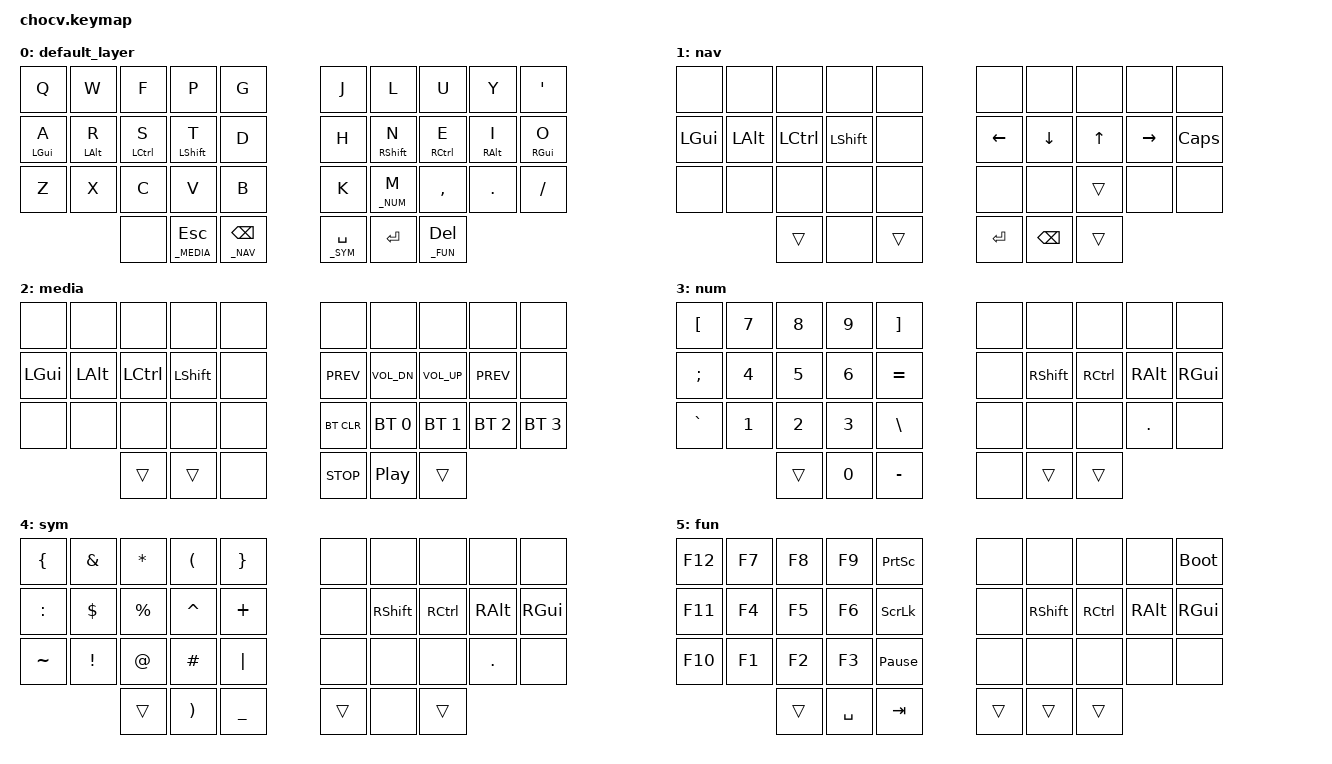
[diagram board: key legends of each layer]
/*
 * Copyright (c) 2020 The ZMK Contributors
 *
 * SPDX-License-Identifier: MIT
 */

#include <behaviors.dtsi>
#include <dt-bindings/zmk/keys.h>
#include <dt-bindings/zmk/bt.h>

#define             _BASE    0
#define             _NAV     1
#define             _MEDIA   2
#define             _NUM     3
#define             _SYM     4
#define             _FUN     5

#define VOL_U       &kp C_VOL_UP
#define VOL_D       &kp C_VOL_DN

#define BT0         &bt BT_SEL 0
#define BT1         &bt BT_SEL 1
#define BT2         &bt BT_SEL 2
#define BT3         &bt BT_SEL 3

#define SPC_SYM     &lt _SYM   SPC
#define ESC_MED     &lt _MEDIA ESC
#define BSPC_NAV    &lt _NAV   BSPC
#define M_NUM       &lt _NUM   M
#define DEL_FUN     &lt _FUN   DEL

#define A_GUI       &hm LGUI  A
#define R_ALT       &hm LALT  R
#define S_CTRL      &hm LCTRL S
#define T_SHFT      &hm LSHFT T

#define N_SHFT      &hm RSHFT N
#define E_CTRL      &hm RCTRL E
#define I_ALT       &hm RALT  I
#define O_GUI       &hm RGUI  O

&kscan0 {
    debounce-period  = <12>;
};

&mt {
    tapping-term-ms = <185>;
    quick-tap-ms = <185>;
};

&lt {
    flavor = "balanced";
    tapping-term-ms = <185>;
    quick-tap-ms = <185>;
};

&caps_word {
    continue-list = <UNDERSCORE MINUS BACKSPACE>;
};

/ { 

        combos {
            compatible = "zmk,combos";

            combo_esc {
                timeout-ms = <50>;
                key-positions = <11 12>;
                bindings = <&kp ESC>;
                layers = <0 1 2 3 4 5>;
            };

            combo_tab {
                timeout-ms = <20>;
                key-positions = <12 13>;
                bindings = <&kp TAB>;
                layers = <0 1 2 3 4 5>;
            };

            combo_ret {
                timeout-ms = <20>;
                key-positions = <17 18>;
                bindings = <&kp RET>;
                layers = <0 1 2 3 4 5>;
            };
            
            combo_caps_word {
                timeout-ms = <20>;
                key-positions = <22 23>;
                bindings = <&caps_word>;
                layers = <0 1 2 3 4 5>;
            };
            
            combo_fun {
                timeout-ms = <20>;
                key-positions = <32 33>;
                bindings = <&mo _FUN>;
                layers = <0 1 2 3 4 5>;
            };

            combo_del {
                timeout-ms = <50>;
                key-positions = <8 9>;
                bindings = <&kp DEL>;
                layers = <0 1 2 3 4 5>;
            };
        };
    
        behaviors {
            hm: homerow_mods {
                compatible = "zmk,behavior-hold-tap";
                label = "HOMEROW_MODS";
                #binding-cells = <2>;
                tapping-term-ms = <200>;
                quick-tap-ms = <50>;
                flavor = "tap-preferred";
                bindings = <&kp>, <&kp>;
            };
        };

        keymap {
            compatible = "zmk,keymap";
                
       		default_layer {
		bindings = <
            &kp Q       &kp W       &kp F       &kp P       &kp G 				    &kp J       &kp L       &kp U       &kp Y       &kp SQT
            A_GUI       R_ALT       S_CTRL      T_SHFT      &kp D 			        &kp H       N_SHFT      E_CTRL      I_ALT       O_GUI
            &kp Z       &kp X       &kp C       &kp V       &kp B                   &kp K       M_NUM       &kp COMMA   &kp DOT     &kp SLASH
                                    &none       ESC_MED     BSPC_NAV  				SPC_SYM     &kp RET     DEL_FUN
		>;
		};

       		nav {
		bindings = <
            &none       &none       &none       &none       &none                   &none       &none       &none       &none       &none
            &kp LGUI    &kp LALT    &kp LCTRL   &kp LSHFT   &none                   &kp LEFT    &kp DOWN    &kp UP      &kp RIGHT   &kp CAPS
            &none       &none       &none       &none       &none                   &none       &none       &trans      &none       &none
                                    &trans      &none       &trans  				&kp RET     &kp BSPC    &trans
		>;
		};
		
            media {
		bindings = <
            &none       &none       &none       &none       &none  				    &none       &none       &none       &none       &none  
            &kp LGUI    &kp LALT    &kp LCTRL   &kp LSHFT   &none                   &kp C_PREV  VOL_D       VOL_U       &kp C_PREV  &none
            &none       &none       &none       &none       &none                   &bt BT_CLR  BT0         BT1         BT2         BT3
                                    &trans      &trans      &none                   &kp C_STOP  &kp C_PP    &trans
		>;
		};	
		
            num {
		bindings = <
            &kp LBKT    &kp N7      &kp N8      &kp N9      &kp RBKT 				&none       &none       &none       &none       &none 
            &kp SEMI    &kp N4      &kp N5      &kp N6      &kp EQUAL               &none       &kp RSHFT   &kp RCTRL   &kp RALT    &kp RGUI
            &kp GRAVE   &kp N1      &kp N2      &kp N3      &kp BSLH                &none       &none       &none       &kp DOT     &none
                                    &trans      &kp N0      &kp MINUS  				&none       &trans      &trans
		>;
		};	
		
            sym {
		bindings = <
            &kp LBRC    &kp AMPS    &kp STAR    &kp LPAR    &kp RBRC 				&none       &none       &none       &none       &none 
            &kp COLON   &kp DLLR    &kp PERCENT &kp CARET   &kp PLUS                &none       &kp RSHFT   &kp RCTRL   &kp RALT    &kp RGUI
            &kp TILDE   &kp EXCL    &kp AT      &kp HASH    &kp PIPE                &none       &none       &none       &kp DOT     &none
                                    &trans      &kp RPAR    &kp UNDER               &trans      &none       &trans
		>;
		};	

            fun {
		bindings = <
            &kp F12     &kp F7      &kp F8      &kp F9      &kp PSCRN 				&none       &none       &none       &none       &bootloader
            &kp F11     &kp F4      &kp F5      &kp F6      &kp SLCK                &none       &kp RSHFT   &kp RCTRL   &kp RALT    &kp RGUI
            &kp F10     &kp F1      &kp F2      &kp F3      &kp PAUSE_BREAK         &none       &none       &none       &none       &none
                                    &trans      &kp SPC     &kp TAB                 &trans      &trans      &trans
		>;
		};	
		
	};
};
